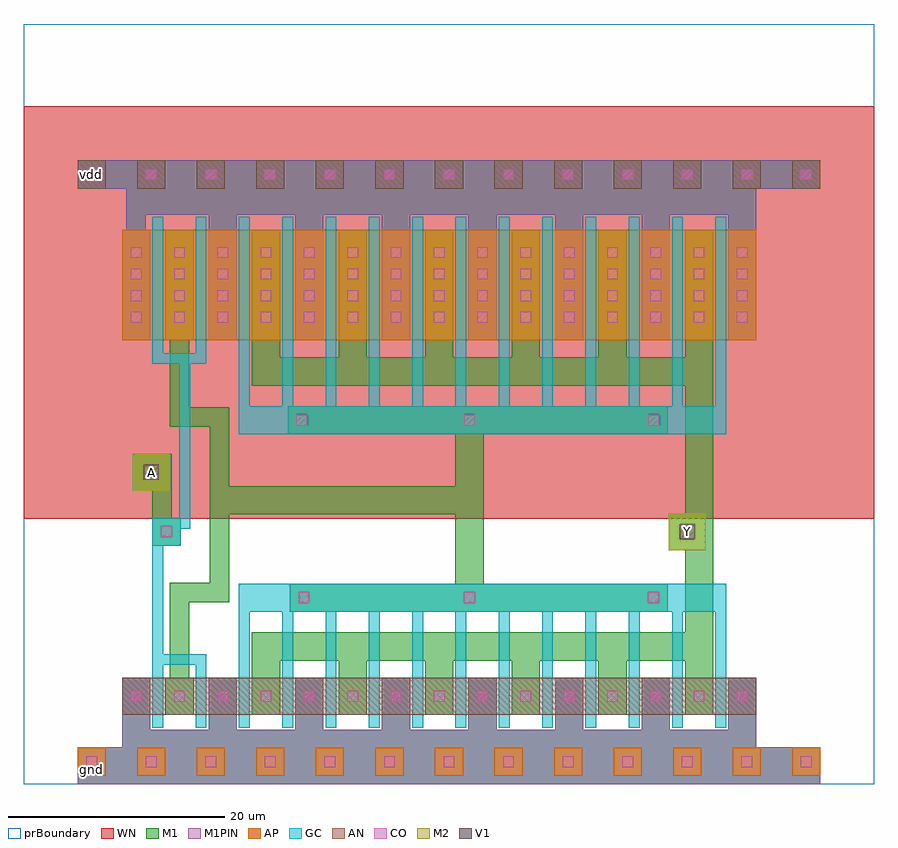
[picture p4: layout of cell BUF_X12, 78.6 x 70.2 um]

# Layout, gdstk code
import gdstk
lib = gdstk.Library(unit=1e-6, precision=1e-09)
def R(c, l, rs):  # rectangles x0, y0, x1, y1
    for r in rs: c.add(gdstk.rectangle(r[:2], r[2:], *l))
def A(c, l, x, y, w, h, nx, ny, dx, dy):  # array of equal rectangles
    R(c, l, [(x+i*dx, y+j*dy, x+i*dx+w, y+j*dy+h) for i in range(nx) for j in range(ny)])
def P(c, l, *ps):  # polygons
    for p in ps: c.add(gdstk.Polygon(p, *l))
AP = (3, 1)
AN = (3, 2)
GC = (8, 1)
CO = (11, 0)
M1 = (13, 0)
V1 = (19, 0)
M2 = (20, 0)
M1PIN = (48, 1)
WN = (140, 0)
prBoundary = (235, 4)

buf_x12 = lib.new_cell('BUF_X12')
A(buf_x12, AP, 5, 0.75, 2.6, 2.6, 13, 1, 5.5, 0)
R(buf_x12, AP, [(9.1,41,67.7,51.2)])
A(buf_x12, AN, 5, 55, 2.6, 2.6, 13, 1, 5.5, 0)
R(buf_x12, AN, [(9.1,6.4,67.7,9.8)])
P(buf_x12, GC, [(19.9,5.2),(19.9,18.5),(64.9,18.5),(64.9,5.2),(63.9,5.2),(63.9,15.9),(60.9,15.9),(60.9,5.2),(59.9,5.2),(59.9,15.9),(56.9,15.9),(56.9,5.2),(55.9,5.2),(55.9,15.9),(52.9,15.9),(52.9,5.2),(51.9,5.2),(51.9,15.9),(48.9,15.9),(48.9,5.2),(47.9,5.2),(47.9,15.9),(44.9,15.9),(44.9,5.2),(43.9,5.2),(43.9,15.9),(40.9,15.9),(40.9,5.2),(39.9,5.2),(39.9,15.9),(36.9,15.9),(36.9,5.2),(35.9,5.2),(35.9,15.9),(32.9,15.9),(32.9,5.2),(31.9,5.2),(31.9,15.9),(28.9,15.9),(28.9,5.2),(27.9,5.2),(27.9,15.9),(24.9,15.9),(24.9,5.2),(23.9,5.2),(23.9,15.9),(20.9,15.9),(20.9,5.2)],
  [(11.9,5.2),(11.9,24.6),(14.4,24.6),(14.4,38.8),(11.9,38.8),(11.9,52.4),(12.9,52.4),(12.9,39.8),(15.9,39.8),(15.9,52.4),(16.9,52.4),(16.9,38.8),(15.4,38.8),(15.4,23.6),(14.5,23.6),(14.5,22),(12.9,22),(12.9,12),(16.9,12),(16.9,5.2),(15.9,5.2),(15.9,11),(12.9,11),(12.9,5.2)],
  [(19.9,32.3),(19.9,52.4),(20.9,52.4),(20.9,34.9),(23.9,34.9),(23.9,52.4),(24.9,52.4),(24.9,34.9),(27.9,34.9),(27.9,52.4),(28.9,52.4),(28.9,34.9),(31.9,34.9),(31.9,52.4),(32.9,52.4),(32.9,34.9),(35.9,34.9),(35.9,52.4),(36.9,52.4),(36.9,34.9),(39.9,34.9),(39.9,52.4),(40.9,52.4),(40.9,34.9),(43.9,34.9),(43.9,52.4),(44.9,52.4),(44.9,34.9),(47.9,34.9),(47.9,52.4),(48.9,52.4),(48.9,34.9),(51.9,34.9),(51.9,52.4),(52.9,52.4),(52.9,34.9),(55.9,34.9),(55.9,52.4),(56.9,52.4),(56.9,34.9),(59.9,34.9),(59.9,52.4),(60.9,52.4),(60.9,34.9),(63.9,34.9),(63.9,52.4),(64.9,52.4),(64.9,32.3)])
A(buf_x12, CO, 5.8, 1.55, 1, 1, 13, 2, 5.5, 54.25)
A(buf_x12, CO, 9.9, 7.6, 1, 1, 3, 2, 4, 35)
A(buf_x12, CO, 17.9, 7.6, 1, 1, 13, 2, 4, 35)
A(buf_x12, CO, 9.9, 44.6, 1, 1, 3, 3, 4, 2)
A(buf_x12, CO, 17.9, 44.6, 1, 1, 13, 3, 4, 2)
R(buf_x12, CO, [(25.4,16.7,26.4,17.7), (40.7,16.7,41.7,17.7), (57.7,16.7,58.7,17.7), (12.7,22.8,13.7,23.8), (25.2,33.1,26.2,34.1), (40.7,33.1,41.7,34.1), (57.7,33.1,58.7,34.1)])
R(buf_x12, M1, [(5,2.6,9.1,3.4), (67.7,2.6,73.6,3.4)])
P(buf_x12, M1, [(5,0),(5,2.6),(9.1,2.6),(9.1,9.8),(11.7,9.8),(11.7,5),(17.1,5),(17.1,9.8),(19.7,9.8),(19.7,5),(25.1,5),(25.1,9.8),(27.7,9.8),(27.7,5),(33.1,5),(33.1,9.8),(35.7,9.8),(35.7,5),(41.1,5),(41.1,9.8),(43.7,9.8),(43.7,5),(49.1,5),(49.1,9.8),(51.7,9.8),(51.7,5),(57.1,5),(57.1,9.8),(59.7,9.8),(59.7,5),(65.1,5),(65.1,9.8),(67.7,9.8),(67.7,2.6),(73.6,2.6),(73.6,0)],
  [(11.9,22),(11.9,27.1),(10.1,27.1),(10.1,30.5),(13.7,30.5),(13.7,24.6),(14.5,24.6),(14.5,22)],
  [(13.1,6.4),(13.1,9.8),(13.5,9.8),(13.5,18.6),(17.2,18.6),(17.2,33),(13.5,33),(13.5,41),(13.1,41),(13.1,51.2),(15.7,51.2),(15.7,41),(15.3,41),(15.3,34.8),(19,34.8),(19,27.5),(39.9,27.5),(39.9,32.3),(24.4,32.3),(24.4,34.9),(59.5,34.9),(59.5,32.3),(42.5,32.3),(42.5,18.5),(59.5,18.5),(59.5,15.9),(24.6,15.9),(24.6,18.5),(39.9,18.5),(39.9,24.9),(19,24.9),(19,16.8),(15.3,16.8),(15.3,9.8),(15.7,9.8),(15.7,6.4)],
  [(21.1,6.4),(21.1,14),(61.1,14),(61.1,21.6),(59.6,21.6),(59.6,25),(61.1,25),(61.1,36.8),(21.1,36.8),(21.1,51.2),(23.7,51.2),(23.7,39.4),(29.1,39.4),(29.1,51.2),(31.7,51.2),(31.7,39.4),(37.1,39.4),(37.1,51.2),(39.7,51.2),(39.7,39.4),(45.1,39.4),(45.1,51.2),(47.7,51.2),(47.7,39.4),(53.1,39.4),(53.1,51.2),(55.7,51.2),(55.7,39.4),(61.1,39.4),(61.1,51.2),(63.7,51.2),(63.7,6.4),(61.1,6.4),(61.1,11.4),(55.7,11.4),(55.7,6.4),(53.1,6.4),(53.1,11.4),(47.7,11.4),(47.7,6.4),(45.1,6.4),(45.1,11.4),(39.7,11.4),(39.7,6.4),(37.1,6.4),(37.1,11.4),(31.7,11.4),(31.7,6.4),(29.1,6.4),(29.1,11.4),(23.7,11.4),(23.7,6.4)],
  [(9.1,41),(9.1,51.2),(9.5,51.2),(9.5,55),(5,55),(5,57.6),(73.6,57.6),(73.6,55),(67.7,55),(67.7,41),(65.1,41),(65.1,52.6),(59.7,52.6),(59.7,41),(57.1,41),(57.1,52.6),(51.7,52.6),(51.7,41),(49.1,41),(49.1,52.6),(43.7,52.6),(43.7,41),(41.1,41),(41.1,52.6),(35.7,52.6),(35.7,41),(33.1,41),(33.1,52.6),(27.7,52.6),(27.7,41),(25.1,41),(25.1,52.6),(19.7,52.6),(19.7,41),(17.1,41),(17.1,52.6),(11.3,52.6),(11.3,51.2),(11.7,51.2),(11.7,41)])
R(buf_x12, V1, [(60.6,22.6,62,24), (11.1,28.1,12.5,29.5)])
R(buf_x12, M2, [(59.6,21.6,63,25), (10.1,27.1,13.5,30.5)])
A(buf_x12, M1PIN, 9.1, 5, 2.6, 4.8, 8, 1, 8, 0)
A(buf_x12, M1PIN, 17.1, 41, 2.6, 11.6, 7, 1, 8, 0)
R(buf_x12, M1PIN, [(5,0,73.6,3.4), (9.1,3.4,67.7,5), (9.1,41,11.7,51.2), (9.5,51.2,11.3,52.6), (9.5,52.6,67.7,55), (5,55,73.6,57.6)])
R(buf_x12, WN, [(0,24.5,78.6,62.6)])
R(buf_x12, prBoundary, [(0,0,78.6,70.2)])
buf_x12.add(gdstk.Label('A', (11.8,28.8), layer=49, texttype=0))
buf_x12.add(gdstk.Label('Y', (61.3,23.3), layer=49, texttype=0))
buf_x12.add(gdstk.Label('vdd', (6.3,56.3), layer=48, texttype=0))
buf_x12.add(gdstk.Label('gnd', (6.3,1.3), layer=48, texttype=0))
buf_x12.add(gdstk.Label('Y', (61.3,23.3), layer=48, texttype=0))
buf_x12.add(gdstk.Label('A', (11.8,28.8), layer=48, texttype=0))
buf_x12.add(gdstk.Label('A', (11.8,28.8), layer=48, texttype=0))

lib.write_gds('BUF_X12.gds')
